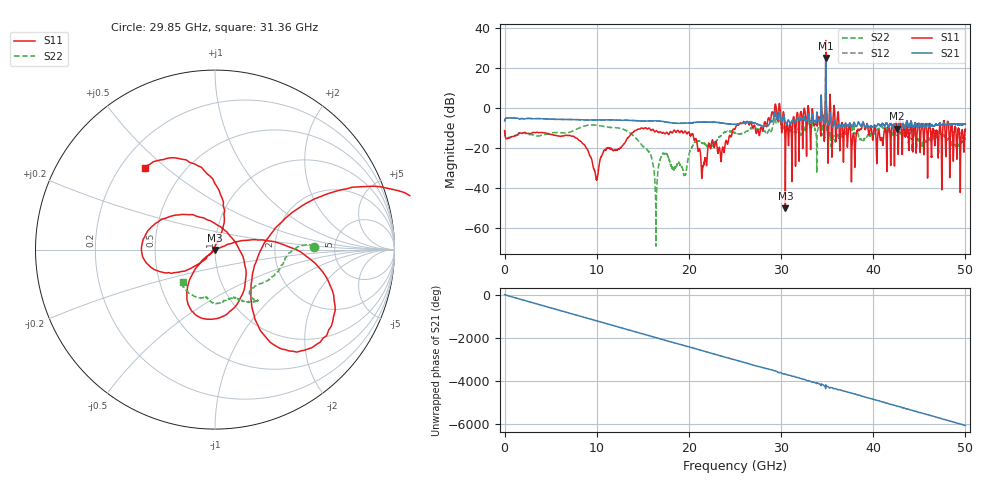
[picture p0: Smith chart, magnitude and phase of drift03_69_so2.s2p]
!Created with skrf (http://scikit-rf.org).
# Hz S RI R 50.0
!freq ReS11 ImS11 ReS21 ImS21 ReS12 ImS12 ReS22 ImS22
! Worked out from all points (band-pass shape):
!   10001 points, 300 kHz to 50 GHz, reference 50 ohm
!   highest |S21| = 24.79 dB at 34.85 GHz (marker M1); lowest = -10.3 dB at 42.56 GHz (marker M2)
!   |S21| within 3 dB of the highest: 34.84329 GHz to 34.84622 GHz (2.934 MHz wide, 0.00842 % of centre)
!   lowest |S11| = -50.1 dB at 30.47 GHz (marker M3), VSWR 1.01, Z = 49.8 - j0.251 ohm
!   |S11| at or under -10 dB: start of sweep to 15.23 GHz; 15.32 GHz to 25.05 GHz (9.735 GHz wide, 48.2 % of centre); 40.22 GHz to 41.61 GHz (1.389 GHz wide, 3.4 % of centre) (the widest 3 of 50)
!   |S22| runs from -69.0 to 15.9 dB; largest |S21 - S12| = 2.7
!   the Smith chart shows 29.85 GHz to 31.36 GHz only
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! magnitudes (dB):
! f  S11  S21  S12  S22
! 300 kHz  -11.4  -6.5  -6.5  -11.4
! 8.335 GHz  -17.1  -6.0  -6.0  -9.6
! 9.955 GHz  -35.7  -6.1  -6.1  -8.7
! 10.91 GHz  -21.0  -6.0  -6.1  -9.4
! 13.79 GHz  -12.6  -6.3  -6.3  -13.3
! 16.37 GHz  -11.8  -6.5  -6.5  -43.4
! 16.67 GHz  -12.4  -6.5  -6.5  -30.2
! 17.34 GHz  -12.8  -6.9  -6.9  -22.9
! 19.55 GHz  -11.6  -7.6  -7.6  -33.6
! 20.22 GHz  -13.8  -7.4  -7.4  -20.4
! 21.55 GHz  -28.8  -7.2  -7.2  -17.7
! 25 GHz  -10.6  -8.3  -8.2  -12.6
! 29.6 GHz  -5.5  -5.7  -5.9  -7.8
! 30.47 GHz  -50.1  -7.2  -7.2  -9.1
! 33.34 GHz  -3.7  -6.9  -6.7  -9.3
! 34.85 GHz  33.6  24.8  24.6  15.9
! 35.62 GHz  -7.1  -9.3  -9.1  -16.1
! 37.83 GHz  -12.7  -8.2  -8.2  -9.6
! 38.81 GHz  -8.6  -8.2  -8.2  -16.3
! 41.67 GHz  -9.1  -9.4  -9.4  -11.6
! 42.56 GHz  -8.3  -10.3  -10.4  -13.5
! 50 GHz  -10.8  -8.2  -8.2  -15.4
